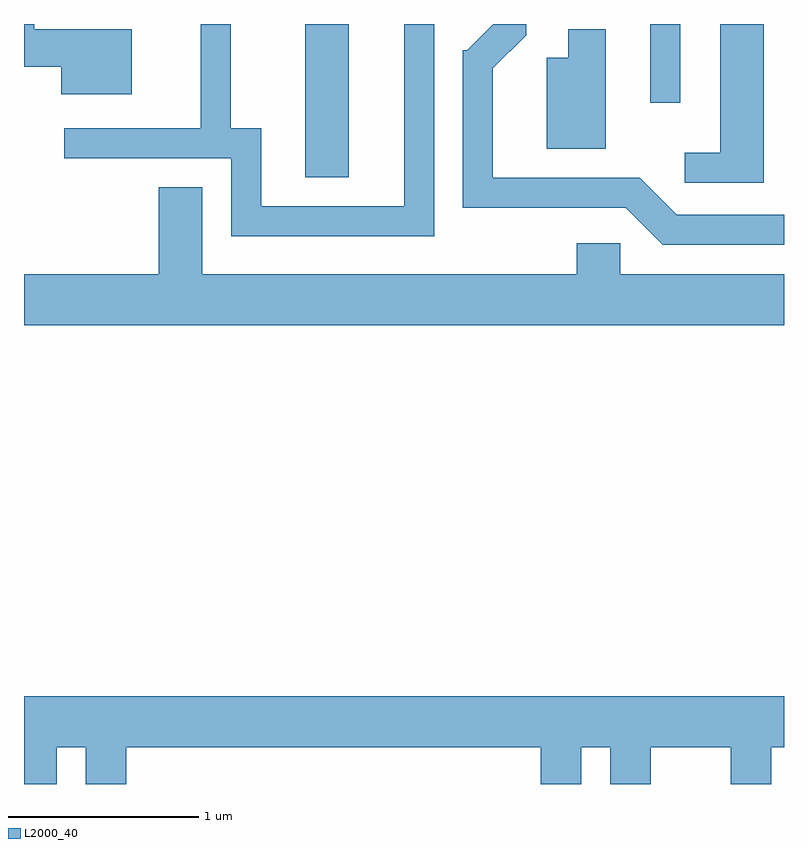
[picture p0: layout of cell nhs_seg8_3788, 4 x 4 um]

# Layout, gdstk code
import gdstk
lib = gdstk.Library(unit=1e-6, precision=1e-09)
def R(c, l, rs):  # rectangles x0, y0, x1, y1
    for r in rs: c.add(gdstk.rectangle(r[:2], r[2:], *l))
def P(c, l, *ps):  # polygons
    for p in ps: c.add(gdstk.Polygon(p, *l))
L2000_40 = (2000, 40)

nhs_seg8_3788 = lib.new_cell('nhs_seg8_3788')
R(nhs_seg8_3788, L2000_40, [(299.091,1941.536,299.319,1942.342), (300.906,1941.928,301.064,1942.342)])
P(nhs_seg8_3788, L2000_40, [(298.179,1942.314),(297.664,1942.314),(297.664,1942.342),(297.611,1942.342),(297.611,1942.116),(297.806,1942.116),(297.806,1941.971),(298.179,1941.971)],
  [(299.769,1942.342),(299.611,1942.342),(299.611,1941.384),(298.859,1941.384),(298.859,1941.794),(298.699,1941.794),(298.699,1942.342),(298.541,1942.342),(298.541,1941.794),(297.823,1941.794),(297.823,1941.636),(298.701,1941.636),(298.701,1941.226),(299.769,1941.226)],
  [(301.611,1941.339),(301.047,1941.339),(300.852,1941.534),(300.079,1941.534),(300.079,1942.109),(300.254,1942.284),(300.254,1942.342),(300.081,1942.342),(299.944,1942.204),(299.921,1942.204),(299.921,1941.376),(300.779,1941.376),(300.974,1941.181),(301.611,1941.181)],
  [(301.504,1942.342),(301.276,1942.342),(301.276,1941.664),(301.088,1941.664),(301.088,1941.506),(301.504,1941.506)],
  [(300.674,1942.314),(300.476,1942.314),(300.476,1942.164),(300.361,1942.164),(300.361,1941.686),(300.674,1941.686)],
  [(301.611,1941.024),(300.749,1941.024),(300.749,1941.189),(300.521,1941.189),(300.521,1941.024),(298.549,1941.024),(298.549,1941.484),(298.321,1941.484),(298.321,1941.024),(297.611,1941.024),(297.611,1940.756),(301.611,1940.756)],
  [(297.784,1938.536),(297.936,1938.536),(297.936,1938.342),(298.149,1938.342),(298.149,1938.536),(300.331,1938.536),(300.331,1938.342),(300.544,1938.342),(300.544,1938.536),(300.696,1938.536),(300.696,1938.342),(300.909,1938.342),(300.909,1938.536),(301.331,1938.536),(301.331,1938.342),(301.544,1938.342),(301.544,1938.536),(301.611,1938.536),(301.611,1938.804),(297.611,1938.804),(297.611,1938.342),(297.784,1938.342)])

lib.write_gds('nhs_seg8_3788.gds')
